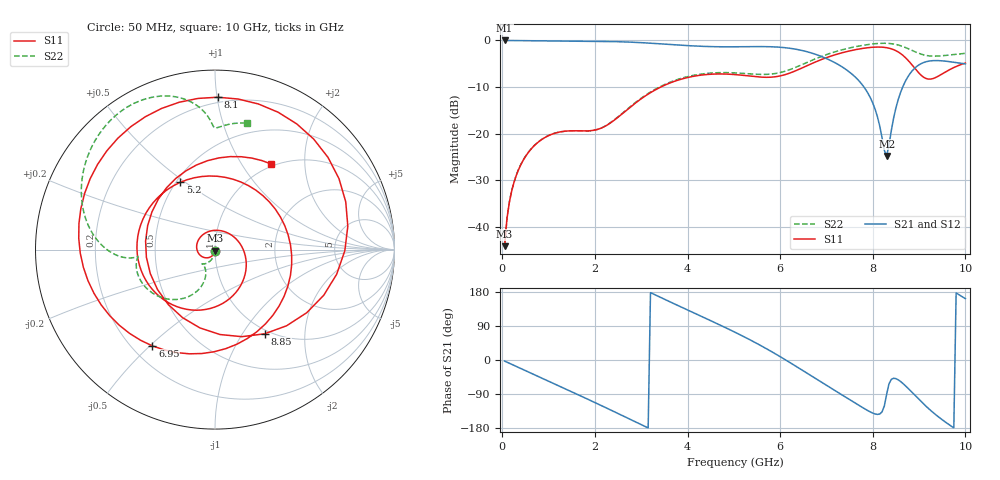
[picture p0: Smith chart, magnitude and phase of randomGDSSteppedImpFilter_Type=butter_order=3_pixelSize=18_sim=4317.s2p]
! freq	dB(S11)	phase(S11)	dB(S12)	phase(S12)
!  dB(S21)	phase(S21)	dB(S22)	phase(S22)
!S-par simulation data
#  GHz  S  DB  R 50
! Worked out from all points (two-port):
!   200 points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, 50 MHz to 10 GHz, reference 50 ohm
!   highest |S21| = -0.01 dB at 50 MHz (marker M1); lowest = -24.8 dB at 8.3 GHz (marker M2)
!   |S21| within 3 dB of the highest: start of sweep to 6.771 GHz
!   lowest |S11| = -44.2 dB at 50 MHz (marker M3), VSWR 1.01, Z = 50 - j0.617 ohm
!   |S11| at or under -10 dB: start of sweep to 3.425 GHz
!   |S22| runs from -44.2 to -0.6 dB; largest |S21 - S12| = 0
!   S11 on the Smith chart (normalised r, x): 50 MHz: 1.00, -0.01; 5.2 GHz: 0.53, +0.48; 6.95 GHz: 0.28, -0.51; 8.1 GHz: 0.17, +1.00; 8.85 GHz: 0.95, -1.26; 10 GHz: 0.97, +1.37
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0.05  -44.19 -90.8  -0.01 -2.9  -0.01 -2.9  -44.16 -88.7
0.2  -32.45 -104.5  -0.02 -11.3  -0.02 -11.3  -32.40 -96.8
0.5  -24.94 -128.2  -0.05 -28.1  -0.05 -28.1  -24.90 -108.5
1.75  -19.44 113.5  -0.16 -98.0  -0.16 -98.0  -19.46 -130.9
2.65  -15.25 -11.9  -0.32 -150.0  -0.32 -150.0  -15.15 -108.9
3.4  -10.12 -86.2  -0.72 166.2  -0.72 166.2  -9.97 -122.0
4.4  -7.33 -168.3  -1.30 109.4  -1.30 109.4  -7.10 -152.6
5.05  -7.35 133.0  -1.37 71.7  -1.37 71.7  -6.98 -168.7
5.2  -7.50 117.3  -1.35 62.6  -1.35 62.6  -7.08 -171.2
5.65  -7.91 62.2  -1.33 33.5  -1.33 33.5  -7.30 -174.9
6.1  -7.37 -3.9  -1.55 1.5  -1.55 1.5  -6.63 -174.3
6.7  -4.89 -90.5  -2.77 -43.9  -2.77 -43.9  -4.21 178.9
6.95  -3.88 -123.0  -3.68 -63.0  -3.68 -63.0  -3.22 172.3
7.55  -2.14 163.0  -7.22 -108.3  -7.22 -108.3  -1.51 151.6
8.1  -1.42 89.0  -16.37 -143.6  -16.37 -143.6  -0.66 128.7
8.3  -1.56 56.9  -24.80 -90.2  -24.80 -90.2  -0.62 119.1
8.35  -1.67 48.2  -22.52 -62.9  -22.52 -62.9  -0.64 116.6
8.6  -2.81 -0.5  -11.18 -56.7  -11.18 -56.7  -1.13 104.3
8.85  -5.28 -59.5  -6.54 -85.7  -6.54 -85.7  -2.16 95.1
9.3  -8.19 173.0  -4.34 -138.3  -4.34 -138.3  -3.37 89.9
9.65  -6.33 102.3  -4.55 -170.8  -4.55 -170.8  -3.14 84.9
10  -4.87 56.5  -5.04 161.9  -5.04 161.9  -2.78 75.9
